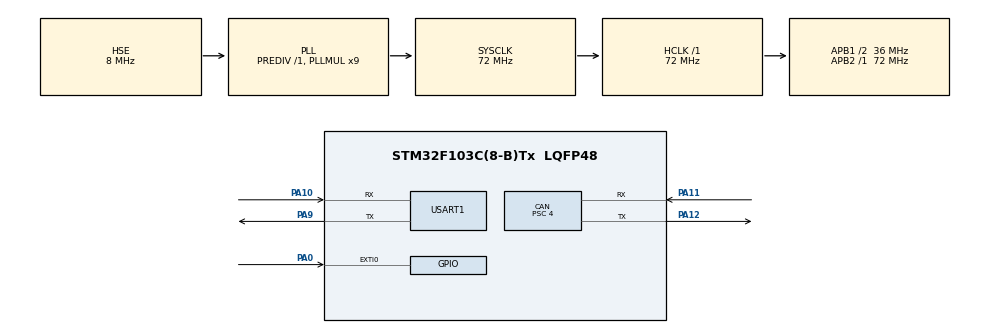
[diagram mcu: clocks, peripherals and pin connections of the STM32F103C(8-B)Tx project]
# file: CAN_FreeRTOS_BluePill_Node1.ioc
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CAN.ABOM=ENABLE
CAN.BS1=CAN_BS1_15TQ
CAN.BS2=CAN_BS2_2TQ
CAN.CalculateBaudRate=500000
CAN.CalculateTimeBit=2000
CAN.CalculateTimeQuantum=111.11111111111111
CAN.NART=ENABLE
CAN.Prescaler=4
FREERTOS.Tasks01=RPMTask,24,128,StartRPMTask,Default,NULL,Dynamic,NULL,NULL;SpeedTask,24,128,StartSpeedTask,Default,NULL,Dynamic,NULL,NULL;TempTask,16,128,StartTempTask,Default,NULL,Dynamic,NULL,NULL;AttackTask,32,128,StartAttackTask,Default,NULL,Dynamic,NULL,NULL
FREERTOS.configTOTAL_HEAP_SIZE=8192
Mcu.Family=STM32F1
Mcu.Name=STM32F103C(8-B)Tx
Mcu.Package=LQFP48
NVIC.EXTI0_IRQn=true\:5\:0\:true\:false\:true\:true\:true\:true\:true
NVIC.PriorityGroup=NVIC_PRIORITYGROUP_4
NVIC.TIM4_IRQn=true\:15\:0\:false\:false\:true\:false\:false\:true\:true
NVIC.TimeBase=TIM4_IRQn
NVIC.TimeBaseIP=TIM4
PA0-WKUP.GPIO_ModeDefaultEXTI=GPIO_MODE_IT_FALLING
PA0-WKUP.GPIO_PuPd=GPIO_PULLUP
PA0-WKUP.Signal=GPXTI0
PA10.Mode=Asynchronous
PA10.Signal=USART1_RX
PA11.Mode=CAN_Activate
PA11.Signal=CAN_RX
PA12.Mode=CAN_Activate
PA12.Signal=CAN_TX
PA13.Mode=Serial_Wire
PA13.Signal=SYS_JTMS-SWDIO
PA14.Mode=Serial_Wire
PA14.Signal=SYS_JTCK-SWCLK
PA9.Mode=Asynchronous
PA9.Signal=USART1_TX
PD0-OSC_IN.Mode=HSE-External-Oscillator
PD0-OSC_IN.Signal=RCC_OSC_IN
PD1-OSC_OUT.Mode=HSE-External-Oscillator
PD1-OSC_OUT.Signal=RCC_OSC_OUT
ProjectManager.HeapSize=0x200
ProjectManager.StackSize=0x400
ProjectManager.TargetToolchain=STM32CubeIDE
RCC.AHBFreq_Value=72000000
RCC.APB1CLKDivider=RCC_HCLK_DIV2
RCC.APB1Freq_Value=36000000
RCC.APB1TimFreq_Value=72000000
RCC.APB2Freq_Value=72000000
RCC.APB2TimFreq_Value=72000000
RCC.HCLKFreq_Value=72000000
RCC.PLLMUL=RCC_PLL_MUL9
RCC.PLLSourceVirtual=RCC_PLLSOURCE_HSE
RCC.SYSCLKFreq_VALUE=72000000
RCC.SYSCLKSource=RCC_SYSCLKSOURCE_PLLCLK
RCC.USBFreq_Value=72000000
USART1.VirtualMode=VM_ASYNC
VP_FREERTOS_VS_CMSIS_V2.Mode=CMSIS_V2
VP_SYS_VS_tim4.Mode=TIM4
board=custom

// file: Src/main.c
/* USER CODE BEGIN Header */
/**
  ******************************************************************************
  * @file           : main.c
  * @brief          : Main program body
  ******************************************************************************
  * @attention
  *
  * Copyright (c) 2026 STMicroelectronics.
  * All rights reserved.
  *
  * This software is licensed under terms that can be found in the LICENSE file
  * in the root directory of this software component.
  * If no LICENSE file comes with this software, it is provided AS-IS.
  *
  ******************************************************************************
  */
/* USER CODE END Header */
#include "main.h"
#include "cmsis_os.h"

/* USER CODE BEGIN Includes */
#include <stdio.h>
#include "string.h"
/* USER CODE END Includes */

/* USER CODE BEGIN PTD */

CAN_TxHeaderTypeDef TxHeader;

/* USER CODE END PTD */

CAN_HandleTypeDef hcan;

UART_HandleTypeDef huart1;

/* Definitions for RPMTask */
osThreadId_t RPMTaskHandle;
const osThreadAttr_t RPMTask_attributes = {
  .name = "RPMTask",
  .stack_size = 128 * 4,
  .priority = (osPriority_t) osPriorityNormal,
};
/* Definitions for SpeedTask */
osThreadId_t SpeedTaskHandle;
const osThreadAttr_t SpeedTask_attributes = {
  .name = "SpeedTask",
  .stack_size = 128 * 4,
  .priority = (osPriority_t) osPriorityNormal,
};
/* Definitions for TempTask */
osThreadId_t TempTaskHandle;
const osThreadAttr_t TempTask_attributes = {
  .name = "TempTask",
  .stack_size = 128 * 4,
  .priority = (osPriority_t) osPriorityBelowNormal,
};
/* Definitions for AttackTask */
osThreadId_t AttackTaskHandle;
const osThreadAttr_t AttackTask_attributes = {
  .name = "AttackTask",
  .stack_size = 128 * 4,
  .priority = (osPriority_t) osPriorityAboveNormal,
};
/* USER CODE BEGIN PV */
uint32_t TxMailbox;

volatile uint32_t lastButtonTick = 0;

volatile uint8_t attack_mode = 0;

/* USER CODE END PV */

void SystemClock_Config(void);
static void MX_GPIO_Init(void);
static void MX_CAN_Init(void);
static void MX_USART1_UART_Init(void);
void StartRPMTask(void *argument);
void StartSpeedTask(void *argument);
void StartTempTask(void *argument);
void StartAttackTask(void *argument);

/* USER CODE BEGIN PFP */

void CAN_Filter_Config(void);

void CAN_Tx(uint16_t can_id, uint8_t *data, uint8_t len);

/* USER CODE END PFP */

int main(void)
{

  /* MCU Configuration--------------------------------------------------------*/

  /* Reset of all peripherals, Initializes the Flash interface and the Systick. */
  HAL_Init();

  /* Configure the system clock */
  SystemClock_Config();

  /* Initialize all configured peripherals */
  MX_GPIO_Init();
  MX_CAN_Init();
  MX_USART1_UART_Init();
  /* USER CODE BEGIN 2 */

  // filters are applied immediately when CAN leaves initialization mode.
  CAN_Filter_Config();

  if(HAL_CAN_Start(&hcan) != HAL_OK)
  {
	  Error_Handler();
  }

  /* USER CODE END 2 */

  /* Init scheduler */
  osKernelInitialize();

  /* Create the thread(s) */
  /* creation of RPMTask */
  RPMTaskHandle = osThreadNew(StartRPMTask, NULL, &RPMTask_attributes);

  /* creation of SpeedTask */
  SpeedTaskHandle = osThreadNew(StartSpeedTask, NULL, &SpeedTask_attributes);

  /* creation of TempTask */
  TempTaskHandle = osThreadNew(StartTempTask, NULL, &TempTask_attributes);

  /* creation of AttackTask */
  AttackTaskHandle = osThreadNew(StartAttackTask, NULL, &AttackTask_attributes);

  /* Start scheduler */
  osKernelStart();

  /* We should never get here as control is now taken by the scheduler */

  /* Infinite loop */
  while (1)
  {

  }
}

void SystemClock_Config(void)
{
  RCC_OscInitTypeDef RCC_OscInitStruct = {0};
  RCC_ClkInitTypeDef RCC_ClkInitStruct = {0};

  /** Initializes the RCC Oscillators according to the specified parameters
  * in the RCC_OscInitTypeDef structure.
  */
  RCC_OscInitStruct.OscillatorType = RCC_OSCILLATORTYPE_HSE;
  RCC_OscInitStruct.HSEState = RCC_HSE_ON;
  RCC_OscInitStruct.HSEPredivValue = RCC_HSE_PREDIV_DIV1;
  RCC_OscInitStruct.HSIState = RCC_HSI_ON;
  RCC_OscInitStruct.PLL.PLLState = RCC_PLL_ON;
  RCC_OscInitStruct.PLL.PLLSource = RCC_PLLSOURCE_HSE;
  RCC_OscInitStruct.PLL.PLLMUL = RCC_PLL_MUL9;
  if (HAL_RCC_OscConfig(&RCC_OscInitStruct) != HAL_OK)
  {
    Error_Handler();
  }

  /** Initializes the CPU, AHB and APB buses clocks
  */
  RCC_ClkInitStruct.ClockType = RCC_CLOCKTYPE_HCLK|RCC_CLOCKTYPE_SYSCLK
                              |RCC_CLOCKTYPE_PCLK1|RCC_CLOCKTYPE_PCLK2;
  RCC_ClkInitStruct.SYSCLKSource = RCC_SYSCLKSOURCE_PLLCLK;
  RCC_ClkInitStruct.AHBCLKDivider = RCC_SYSCLK_DIV1;
  RCC_ClkInitStruct.APB1CLKDivider = RCC_HCLK_DIV2;
  RCC_ClkInitStruct.APB2CLKDivider = RCC_HCLK_DIV1;

  if (HAL_RCC_ClockConfig(&RCC_ClkInitStruct, FLASH_LATENCY_2) != HAL_OK)
  {
    Error_Handler();
  }
}

static void MX_CAN_Init(void)
{

  hcan.Instance = CAN1;
  hcan.Init.Prescaler = 4;
  hcan.Init.Mode = CAN_MODE_NORMAL;
  hcan.Init.SyncJumpWidth = CAN_SJW_1TQ;
  hcan.Init.TimeSeg1 = CAN_BS1_15TQ;
  hcan.Init.TimeSeg2 = CAN_BS2_2TQ;
  hcan.Init.TimeTriggeredMode = DISABLE;
  hcan.Init.AutoBusOff = ENABLE;
  hcan.Init.AutoWakeUp = DISABLE;
  hcan.Init.AutoRetransmission = ENABLE;
  hcan.Init.ReceiveFifoLocked = DISABLE;
  hcan.Init.TransmitFifoPriority = DISABLE;
  if (HAL_CAN_Init(&hcan) != HAL_OK)
  {
    Error_Handler();
  }

}

static void MX_USART1_UART_Init(void)
{

  huart1.Instance = USART1;
  huart1.Init.BaudRate = 115200;
  huart1.Init.WordLength = UART_WORDLENGTH_8B;
  huart1.Init.StopBits = UART_STOPBITS_1;
  huart1.Init.Parity = UART_PARITY_NONE;
  huart1.Init.Mode = UART_MODE_TX_RX;
  huart1.Init.HwFlowCtl = UART_HWCONTROL_NONE;
  huart1.Init.OverSampling = UART_OVERSAMPLING_16;
  if (HAL_UART_Init(&huart1) != HAL_OK)
  {
    Error_Handler();
  }

}

static void MX_GPIO_Init(void)
{
  GPIO_InitTypeDef GPIO_InitStruct = {0};

  /* GPIO Ports Clock Enable */
  __HAL_RCC_GPIOD_CLK_ENABLE();
  __HAL_RCC_GPIOA_CLK_ENABLE();

  /*Configure GPIO pin : PA0 */
  GPIO_InitStruct.Pin = GPIO_PIN_0;
  GPIO_InitStruct.Mode = GPIO_MODE_IT_FALLING;
  GPIO_InitStruct.Pull = GPIO_PULLUP;
  HAL_GPIO_Init(GPIOA, &GPIO_InitStruct);

  /* EXTI interrupt init*/
  HAL_NVIC_SetPriority(EXTI0_IRQn, 5, 0);
  HAL_NVIC_EnableIRQ(EXTI0_IRQn);

}

/* USER CODE BEGIN 4 */

void CAN_Filter_Config(void)
{
	CAN_FilterTypeDef filterInit;

	filterInit.FilterActivation = CAN_FILTER_ENABLE;
	filterInit.FilterBank = 0;
	filterInit.FilterFIFOAssignment = CAN_FILTER_FIFO0;
	filterInit.FilterIdHigh = 0x0000;
	filterInit.FilterIdLow = 0x0000;
	filterInit.FilterMaskIdHigh = 0x0000;
	filterInit.FilterMaskIdLow = 0x0000;
	filterInit.FilterMode = CAN_FILTERMODE_IDMASK;
	filterInit.FilterScale = CAN_FILTERSCALE_32BIT;

	if(HAL_CAN_ConfigFilter(&hcan, &filterInit) != HAL_OK)
	{
		Error_Handler();
	}

}

void CAN_Tx(uint16_t can_id, uint8_t *data, uint8_t len)
{
	TxHeader.StdId = can_id;
	TxHeader.DLC = len;
	TxHeader.ExtId = 0;
	TxHeader.IDE = CAN_ID_STD;
	TxHeader.RTR = CAN_RTR_DATA;
	TxHeader.TransmitGlobalTime = DISABLE;

	if(HAL_CAN_AddTxMessage(&hcan, &TxHeader, data, &TxMailbox) != HAL_OK)
	{
		Error_Handler();
	}

	while(HAL_CAN_IsTxMessagePending(&hcan, TxMailbox));
}

void HAL_GPIO_EXTI_Callback(uint16_t GPIO_Pin)
{
	BaseType_t pxHigherPriorityTaskWoken;

	if(GPIO_Pin == GPIO_PIN_0)
	{
		 uint32_t currentTick = HAL_GetTick();

		 // Ignore interrupts within 200 ms
		 if((currentTick - lastButtonTick) < 200)
		 {
			 return;
		 }

		 lastButtonTick = currentTick;

		attack_mode++;

		if(attack_mode > 3)
		{
			attack_mode = 1;
		}

		pxHigherPriorityTaskWoken = pdFALSE;

		// used whenever an interrupt needs to signal a FreeRTOS task that something has happened.
		vTaskNotifyGiveFromISR(AttackTaskHandle, &pxHigherPriorityTaskWoken);

		// Interrupt finishes context switching takes place
		portYIELD_FROM_ISR(pxHigherPriorityTaskWoken);
	}
}

/* USER CODE END 4 */

void StartRPMTask(void *argument)
{
  /* USER CODE BEGIN 5 */

	uint8_t TxData[8] = {0};
	uint16_t rpm = 3000;

	TickType_t xLastWakeTime = xTaskGetTickCount();

  /* Infinite loop */
  for(;;)
  {
	  TxData[0] = (rpm >> 8) & 0xFF;
	  TxData[1] = rpm & 0xFF;

	  CAN_Tx(0x100, TxData, 2);

	  vTaskDelayUntil(&xLastWakeTime, pdMS_TO_TICKS(10));
  }
  /* USER CODE END 5 */
}

void StartSpeedTask(void *argument)
{
  /* USER CODE BEGIN StartSpeedTask */

	uint8_t TxData[8] = {0};
	uint16_t speed = 60;

	TickType_t xLastWakeTime = xTaskGetTickCount();
  /* Infinite loop */
  for(;;)
  {
	  TxData[0] = (speed >> 8) & 0xFF;
	  TxData[1] = speed & 0xFF;

	  CAN_Tx(0x200, TxData, 2);

	  vTaskDelayUntil(&xLastWakeTime, pdMS_TO_TICKS(20));
  }
  /* USER CODE END StartSpeedTask */
}

void StartTempTask(void *argument)
{
  /* USER CODE BEGIN StartTempTask */

	uint8_t TxData[8] = {0};
	uint16_t temperature = 35;

	TickType_t xLastWakeTime = xTaskGetTickCount();
  /* Infinite loop */
  for(;;)
  {

	  TxData[0] = (temperature >> 8) & 0xFF;
	  TxData[1] = temperature & 0xFF;

	  CAN_Tx(0x300, TxData, 2);

	  vTaskDelayUntil(&xLastWakeTime, pdMS_TO_TICKS(30));
  }
  /* USER CODE END StartTempTask */
}

void StartAttackTask(void *argument)
{
  /* USER CODE BEGIN StartAttackTask */

  /* Infinite loop */
  for(;;)
  {
	  // Wait for a notification.
	  ulTaskNotifyTake(pdTRUE, portMAX_DELAY);

	  uint8_t TxData[8] = {0};

	  switch(attack_mode)
	  {
	  case 1 :
	  {
		  // Unknown ID

			CAN_Tx(0x666, TxData, 2);

		  break;
	  }

	  case 2 :
	  {
		  // Invalid RPM

		  uint16_t rpm = 15000;

		  TxData[0] = (rpm  >>  8) & 0xFF;
		  TxData[1] = rpm & 0xFF;

		  CAN_Tx(0x100, TxData, 2);

		  break;
	  }

	  case 3 :
	  {
		  // Flood attack

		  uint16_t rpm = 3000;

		  TxData[0] = (rpm  >>  8) & 0xFF;
		  TxData[1] = rpm & 0xFF;

		  for(int i=0; i<100; i++)
		  {
			  CAN_Tx(0x100, TxData, 2);
			  osDelay(1);
		  }

		  break;
	  }

	  default :
		  break;

	  }
  }
  /* USER CODE END StartAttackTask */
}

void HAL_TIM_PeriodElapsedCallback(TIM_HandleTypeDef *htim)
{
  if (htim->Instance == TIM4)
  {
    HAL_IncTick();
  }
}

void Error_Handler(void)
{
  __disable_irq();
  while (1)
  {
  }
}
